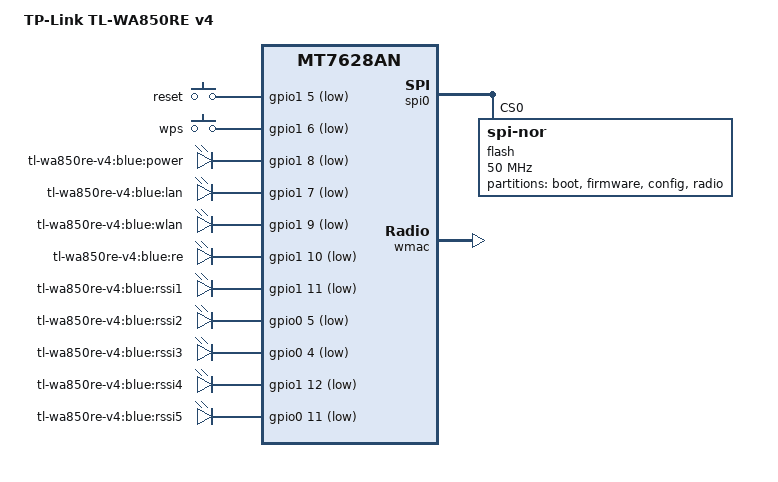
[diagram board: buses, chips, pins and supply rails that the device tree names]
// SPDX-License-Identifier: GPL-2.0-or-later OR MIT
/dts-v1/;

#include "mt7628an.dtsi"
#include <dt-bindings/gpio/gpio.h>
#include <dt-bindings/input/input.h>

/ {
	compatible = "tplink,tl-wa850re-v4", "mediatek,mt7628an-soc";
	model = "TP-Link TL-WA850RE v4";

	chosen {
		bootargs = "console=ttyS0,57600n8";
	};

	aliases {
		label-mac-device = &ethernet;

		led-boot = &led_power;
		led-failsafe = &led_power;
		led-running = &led_power;
		led-upgrade = &led_power;
	};

	keys {
		compatible = "gpio-keys";

		reset {
			label = "reset";
			gpios = <&gpio1 5 GPIO_ACTIVE_LOW>;
			linux,code = <KEY_RESTART>;
		};

		wps {
			label = "wps";
			gpios = <&gpio1 6 GPIO_ACTIVE_LOW>;
			linux,code = <KEY_WPS_BUTTON>;
		};
	};

	leds {
		compatible = "gpio-leds";

		led_power: power {
			label = "tl-wa850re-v4:blue:power";
			gpios = <&gpio1 8 GPIO_ACTIVE_LOW>;
		};

		lan {
			label = "tl-wa850re-v4:blue:lan";
			gpios = <&gpio1 7 GPIO_ACTIVE_LOW>;
		};

		wlan {
			label = "tl-wa850re-v4:blue:wlan";
			gpios = <&gpio1 9 GPIO_ACTIVE_LOW>;
			linux,default-trigger = "phy0tpt";
		};

		range_extender {
			label = "tl-wa850re-v4:blue:re";
			gpios = <&gpio1 10 GPIO_ACTIVE_LOW>;
		};

		rssi1 {
			label = "tl-wa850re-v4:blue:rssi1";
			gpios = <&gpio1 11 GPIO_ACTIVE_LOW>;
		};

		rssi2 {
			label = "tl-wa850re-v4:blue:rssi2";
			gpios = <&gpio0 5 GPIO_ACTIVE_LOW>;
		};

		rssi3 {
			label = "tl-wa850re-v4:blue:rssi3";
			gpios = <&gpio0 4 GPIO_ACTIVE_LOW>;
		};

		rssi4 {
			label = "tl-wa850re-v4:blue:rssi4";
			gpios = <&gpio1 12 GPIO_ACTIVE_LOW>;
		};

		rssi5 {
			label = "tl-wa850re-v4:blue:rssi5";
			gpios = <&gpio0 11 GPIO_ACTIVE_LOW>;
		};
	};
};

&spi0 {
	status = "okay";

	flash@0 {
		compatible = "jedec,spi-nor";
		reg = <0>;
		spi-max-frequency = <50000000>;

		partitions {
			compatible = "fixed-partitions";
			#address-cells = <1>;
			#size-cells = <1>;

			partition@0 {
				label = "boot";
				reg = <0x0 0x20000>;
				read-only;
			};

			partition@20000 {
				compatible = "tplink,firmware";
				label = "firmware";
				reg = <0x20000 0x3a0000>;
			};

			config: partition@3c0000 {
				label = "config";
				reg = <0x3c0000 0x30000>;
				read-only;
			};

			radio: partition@3f0000 {
				label = "radio";
				reg = <0x3f0000 0x10000>;
				read-only;
			};
		};
	};
};

&ehci {
	status = "disabled";
};

&ohci {
	status = "disabled";
};

&wmac {
	status = "okay";

	mediatek,mtd-eeprom = <&radio 0x0>;
	mtd-mac-address = <&config 0x4008>;
	mtd-mac-address-increment = <1>;
};

&ethernet {
	mtd-mac-address = <&config 0x4008>;
};

&state_default {
	gpio {
		ralink,group = "i2c", "refclk", "wdt", "p4led_an", "p3led_an", "p2led_an", "p1led_an", "p0led_an", "wled_an";
		ralink,function = "gpio";
	};
};
